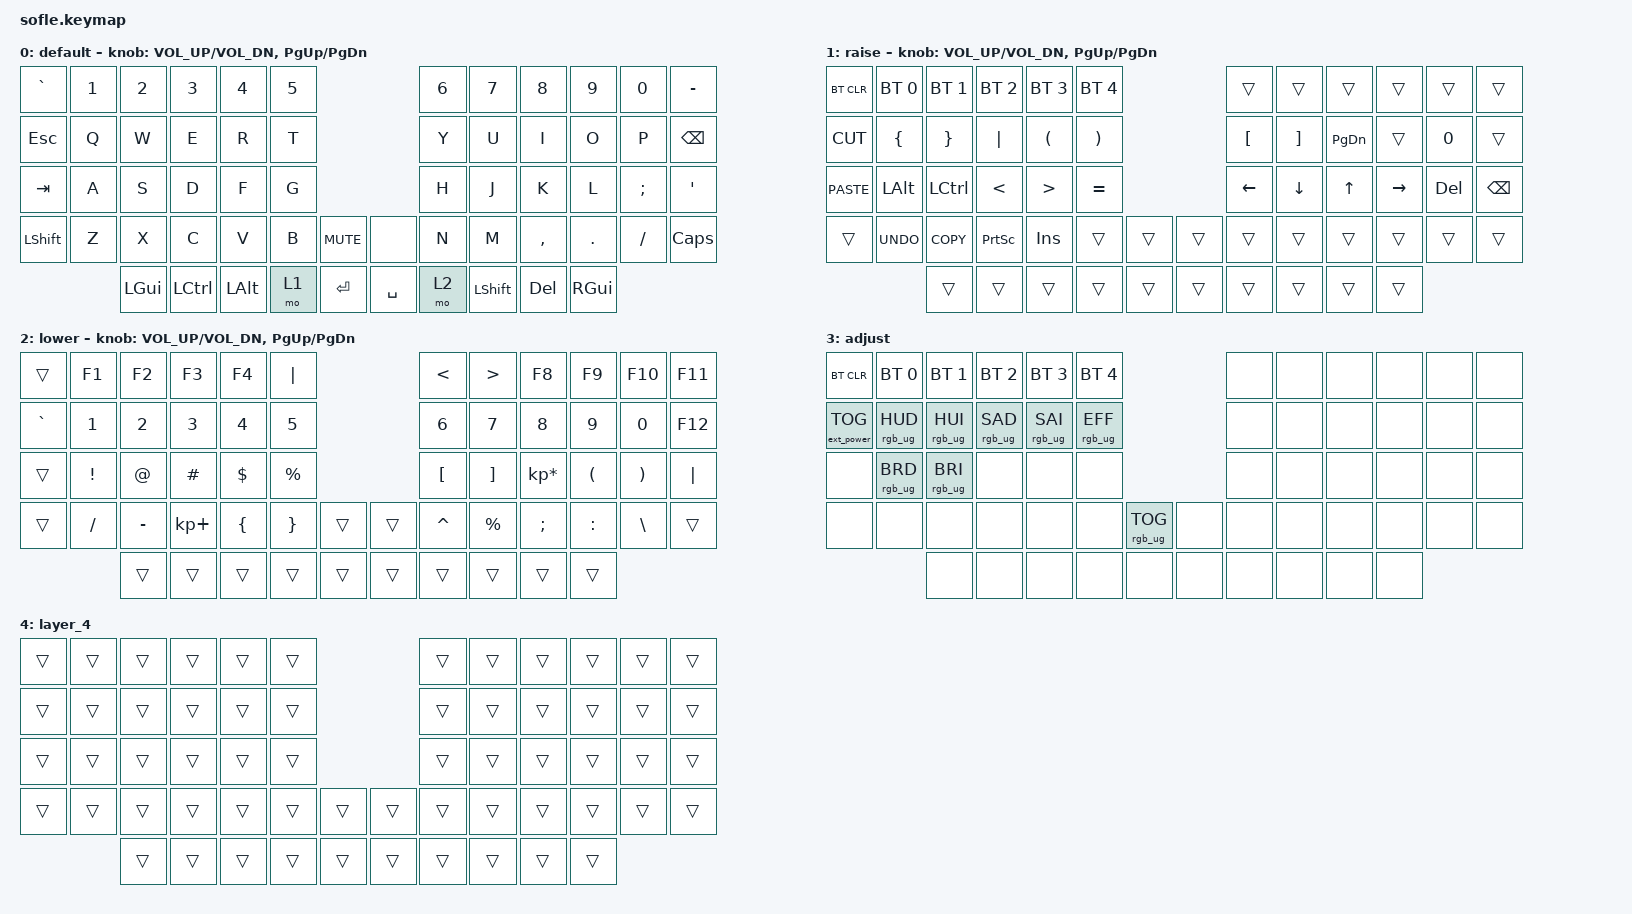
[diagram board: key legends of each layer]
/*
 * Copyright (c) 2020 The ZMK Contributors
 *
 * SPDX-License-Identifier: MIT
 */

#include <behaviors.dtsi>
#include <dt-bindings/zmk/bt.h>
#include <dt-bindings/zmk/ext_power.h>
#include <dt-bindings/zmk/keys.h>
#include <dt-bindings/zmk/rgb.h>

#define BASE 0
#define LOWER 1
#define RAISE 2
#define ADJUST 3

/ {
    // Activate ADJUST layer by pressing raise and lower

    conditional_layers {
        compatible = "zmk,conditional-layers";

        adjust_layer {
            if-layers = <3 1>;
            then-layer = <4>;
        };
    };

    keymap {
        compatible = "zmk,keymap";

        default_layer {
            display-name = "default";

            // ------------------------------------------------------------------------------------------------------------
            // |   `   |  1  |  2  |  3   |  4   |  5   |                   |  6   |  7    |  8    |  9   |   0   |       |
            // |  ESC  |  Q  |  W  |  E   |  R   |  T   |                   |  Y   |  U    |  I    |  O   |   P   | BKSPC |
            // |  TAB  |  A  |  S  |  D   |  F   |  G   |                   |  H   |  J    |  K    |  L   |   ;   |   '   |
            // | SHIFT |  Z  |  X  |  C   |  V   |  B   |  MUTE  |  |       |  N   |  M    |  ,    |  .   |   /   | SHIFT |
            //               | GUI | ALT  | CTRL | LOWER|  ENTER |  | SPACE | RAISE| CTRL  | ALT   | GUI  |

            bindings = <
&kp GRAVE       &kp N1  &kp N2    &kp N3     &kp N4    &kp N5                           &kp N6  &kp N7          &kp N8      &kp N9    &kp N0    &kp MINUS
&kp ESC         &kp Q   &kp W     &kp E      &kp R     &kp T                            &kp Y   &kp U           &kp I       &kp O     &kp P     &kp BSPC
&kp TAB         &kp A   &kp S     &kp D      &kp F     &kp G                            &kp H   &kp J           &kp K       &kp L     &kp SEMI  &kp SQT
&kp LEFT_SHIFT  &kp Z   &kp X     &kp C      &kp V     &kp B   &kp C_MUTE    &none      &kp N   &kp M           &kp COMMA   &kp DOT   &kp FSLH  &kp CAPSLOCK
                        &kp LGUI  &kp LCTRL  &kp LALT  &mo 1   &kp RET       &kp SPACE  &mo 2   &kp LEFT_SHIFT  &kp DELETE  &kp RGUI
            >;

            sensor-bindings = <&inc_dec_kp C_VOL_UP C_VOL_DN &inc_dec_kp PG_UP PG_DN>;
        };

        raise_layer {
            display-name = "raise";

            // ------------------------------------------------------------------------------------------------------------
            // | BTCLR | BT1  | BT2  |  BT3  |  BT4  |  BT5 |                |      |      |       |      |       |       |
            // |       | INS  | PSCR | GUI   |       |      |                | PGUP |      |   ^   |      |       |       |
            // |       | ALT  | CTRL | SHIFT |       | CAPS |                | PGDN |   <- |   v   |  ->  |  DEL  | BKSPC |
            // |       | UNDO | CUT  | COPY  | PASTE |      |      |  |      |      |      |       |      |       |       |
            //                |      |       |       |      |      |  |      |      |      |       |      |

            bindings = <
&bt BT_CLR   &bt BT_SEL 0    &bt BT_SEL 1     &bt BT_SEL 2     &bt BT_SEL 3          &bt BT_SEL 4                             &trans            &trans             &trans     &trans     &trans   &trans
&kp K_CUT    &kp LEFT_BRACE  &kp RIGHT_BRACE  &kp PIPE         &kp LEFT_PARENTHESIS  &kp RIGHT_PARENTHESIS                    &kp LEFT_BRACKET  &kp RIGHT_BRACKET  &kp PG_DN  &trans     &kp N0   &trans
&kp K_PASTE  &kp LALT        &kp LCTRL        &kp LESS_THAN    &kp GREATER_THAN      &kp EQUAL                                &kp LEFT          &kp DOWN           &kp UP     &kp RIGHT  &kp DEL  &kp BSPC
&trans       &kp K_UNDO      &kp K_COPY       &kp PRINTSCREEN  &kp INS               &trans                 &trans    &trans  &trans            &trans             &trans     &trans     &trans   &trans
                             &trans           &trans           &trans                &trans                 &trans    &trans  &trans            &trans             &trans     &trans
            >;

            sensor-bindings = <&inc_dec_kp C_VOL_UP C_VOL_DN &inc_dec_kp PG_UP PG_DN>;
        };

        lower_layer {
            display-name = "lower";

            // TODO: Some binds are waiting for shifted keycode support.
            // ------------------------------------------------------------------------------------------------------------
            // |       |  F1 |  F2 |  F3  |  F4  |  F5  |                   |  F6  |  F7   |  F8   |  F9  |  F10  |  F11  |
            // |   `   |  1  |  2  |  3   |  4   |  5   |                   |  6   |  7    |  8    |  9   |   0   |  F12  |
            // |       |  !  |  @  |  #   |  $   |  %   |                   |  ^   |  &    |  *    |  (   |   )   |   |   |
            // |       |  =  |  -  |  +   |  {   |  }   |        |  |       |  [   |  ]    |  ;    |  :   |   \   |       |
            //               |     |      |      |      |        |  |       |      |       |       |      |

            bindings = <
&trans     &kp F1     &kp F2     &kp F3       &kp F4    &kp PIPE                       &kp LESS_THAN     &kp GREATER_THAN   &kp F8           &kp F9     &kp F10   &kp F11
&kp GRAVE  &kp N1     &kp N2     &kp N3       &kp N4    &kp N5                         &kp N6            &kp N7             &kp N8           &kp N9     &kp N0    &kp F12
&trans     &kp EXCL   &kp AT     &kp HASH     &kp DLLR  &kp PERCENT                    &kp LEFT_BRACKET  &kp RIGHT_BRACKET  &kp KP_MULTIPLY  &kp LPAR   &kp RPAR  &kp PIPE
&trans     &kp SLASH  &kp MINUS  &kp KP_PLUS  &kp LBRC  &kp RBRC     &trans    &trans  &kp CARET         &kp PERCENT        &kp SEMI         &kp COLON  &kp BSLH  &trans
                      &trans     &trans       &trans    &trans       &trans    &trans  &trans            &trans             &trans           &trans
            >;

            sensor-bindings = <&inc_dec_kp C_VOL_UP C_VOL_DN &inc_dec_kp PG_UP PG_DN>;
        };

        adjust_layer {
            // ----------------------------------------------------------------------------------------------------------------------------
            // | BTCLR  |  BT1    |  BT2    |   BT3   |   BT4   |   BT5   |                  |      |      |       |      |       |       |
            // | EXTPWR | RGB_HUD | RGB_HUI | RGB_SAD | RGB_SAI | RGB_EFF |                  |      |      |       |      |       |       |
            // |        | RGB_BRD | RGB_BRI |         |         |         |                  |      |      |       |      |       |       |
            // |        |         |         |         |         |         | RGB_TOG | |      |      |      |       |      |       |       |
            //                    |         |         |         |         |         | |      |      |      |       |      |

            display-name = "adjust";
            bindings = <
&bt BT_CLR         &bt BT_SEL 0     &bt BT_SEL 1     &bt BT_SEL 2     &bt BT_SEL 3     &bt BT_SEL 4                               &none  &none  &none  &none  &none  &none
&ext_power EP_TOG  &rgb_ug RGB_HUD  &rgb_ug RGB_HUI  &rgb_ug RGB_SAD  &rgb_ug RGB_SAI  &rgb_ug RGB_EFF                            &none  &none  &none  &none  &none  &none
&none              &rgb_ug RGB_BRD  &rgb_ug RGB_BRI  &none            &none            &none                                      &none  &none  &none  &none  &none  &none
&none              &none            &none            &none            &none            &none            &rgb_ug RGB_TOG    &none  &none  &none  &none  &none  &none  &none
                                    &none            &none            &none            &none            &none              &none  &none  &none  &none  &none
            >;
        };

        layer_4 {
            bindings = <
&trans  &trans  &trans  &trans  &trans  &trans                    &trans  &trans  &trans  &trans  &trans  &trans
&trans  &trans  &trans  &trans  &trans  &trans                    &trans  &trans  &trans  &trans  &trans  &trans
&trans  &trans  &trans  &trans  &trans  &trans                    &trans  &trans  &trans  &trans  &trans  &trans
&trans  &trans  &trans  &trans  &trans  &trans  &trans    &trans  &trans  &trans  &trans  &trans  &trans  &trans
                &trans  &trans  &trans  &trans  &trans    &trans  &trans  &trans  &trans  &trans
            >;
        };
    };
};
